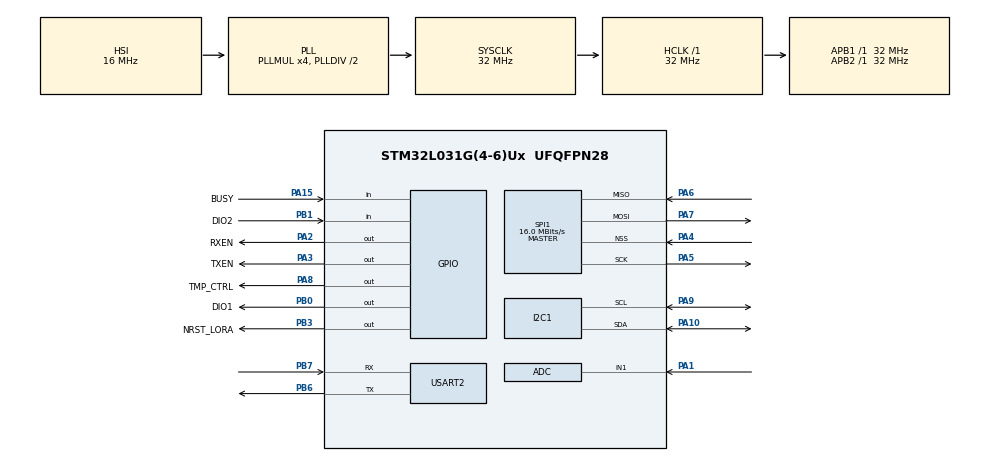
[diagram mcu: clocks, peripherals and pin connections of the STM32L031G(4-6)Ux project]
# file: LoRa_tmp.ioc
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I2C1.Timing=0x00B07CB4
Mcu.Family=STM32L0
Mcu.Name=STM32L031G(4-6)Ux
Mcu.Package=UFQFPN28
PA1.Mode=IN1
PA1.Signal=ADC_IN1
PA10.Mode=I2C
PA10.Signal=I2C1_SDA
PA13.Mode=Serial_Wire
PA13.Signal=SYS_SWDIO
PA14.Mode=Serial_Wire
PA14.Signal=SYS_SWCLK
PA15.GPIO_Label=BUSY
PA15.Signal=GPIO_Input
PA2.GPIO_Label=RXEN
PA2.Signal=GPIO_Output
PA3.GPIO_Label=TXEN
PA3.Signal=GPIO_Output
PA4.Mode=NSS_Signal_Hard_Input
PA4.Signal=SPI1_NSS
PA5.Mode=Full_Duplex_Master
PA5.Signal=SPI1_SCK
PA6.Mode=Full_Duplex_Master
PA6.Signal=SPI1_MISO
PA7.Mode=Full_Duplex_Master
PA7.Signal=SPI1_MOSI
PA8.GPIO_Label=TMP_CTRL
PA8.Signal=GPIO_Output
PA9.Mode=I2C
PA9.Signal=I2C1_SCL
PB0.GPIO_Label=DIO1
PB0.Signal=GPIO_Output
PB1.GPIO_Label=DIO2
PB1.Signal=GPIO_Input
PB3.GPIO_Label=NRST_LORA
PB3.Signal=GPIO_Output
PB6.Mode=Asynchronous
PB6.Signal=USART2_TX
PB7.Mode=Asynchronous
PB7.Signal=USART2_RX
ProjectManager.HeapSize=0x200
ProjectManager.StackSize=0x400
ProjectManager.TargetToolchain=STM32CubeIDE
RCC.AHBFreq_Value=32000000
RCC.APB1Freq_Value=32000000
RCC.APB1TimFreq_Value=32000000
RCC.APB2Freq_Value=32000000
RCC.APB2TimFreq_Value=32000000
RCC.HCLKFreq_Value=32000000
RCC.HSE_VALUE=8000000
RCC.HSI16_VALUE=16000000
RCC.HSI_VALUE=16000000
RCC.LSE_VALUE=32768
RCC.MSI_VALUE=2097000
RCC.PLLMUL=RCC_PLLMUL_4
RCC.SYSCLKFreq_VALUE=32000000
RCC.SYSCLKSource=RCC_SYSCLKSOURCE_PLLCLK
RCC.VCOOutputFreq_Value=64000000
SPI1.CalculateBaudRate=16.0 MBits/s
SPI1.Direction=SPI_DIRECTION_2LINES
SPI1.Mode=SPI_MODE_MASTER
SPI1.VirtualNSS=VM_NSSHARD
SPI1.VirtualType=VM_MASTER
USART2.VirtualMode-Asynchronous=VM_ASYNC
VP_SYS_VS_LPOM.Mode=PowerOptimisation
board=custom

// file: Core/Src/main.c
/* USER CODE BEGIN Header */
/**
  ******************************************************************************
  * @file           : main.c
  * @brief          : Main program body
  ******************************************************************************
  * @attention
  *
  * Copyright (c) 2026 STMicroelectronics.
  * All rights reserved.
  *
  * This software is licensed under terms that can be found in the LICENSE file
  * in the root directory of this software component.
  * If no LICENSE file comes with this software, it is provided AS-IS.
  *
  ******************************************************************************
  */
/* USER CODE END Header */
#include "main.h"

/* USER CODE BEGIN Includes */
#include <stdio.h>
#include <string.h>
#include "UserConfig.h"

/* USER CODE END Includes */

/* USER CODE BEGIN PD */
#define DEVICE_ID                 1U
#define SAMPLE_INTERVAL_MS        5000U
#define ADC_REF_MV                3300U
#define ADC_MAX_VALUE             4095U
#define TMP117_ADDR               (0x48U << 1)
#define TMP117_TEMP_REG           0x00U
#define MLX90393_ADDR             (0x0CU << 1)
#define MLX90393_CMD_START_ZYX    0x3EU
#define MLX90393_CMD_READ_ZYX     0x4EU

/* USER CODE END PD */

ADC_HandleTypeDef hadc;

I2C_HandleTypeDef hi2c1;

SPI_HandleTypeDef hspi1;

UART_HandleTypeDef huart2;

void SystemClock_Config(void);
static void MX_GPIO_Init(void);
static void MX_ADC_Init(void);
static void MX_I2C1_Init(void);
static void MX_SPI1_Init(void);
static void MX_USART2_UART_Init(void);
/* USER CODE BEGIN PFP */
static void Enter_Stop(uint32_t sleep_time_s);

/* USER CODE END PFP */

/* USER CODE BEGIN 0 */

/**
  * @brief  读取 PA1/ADC_IN1 电压值，并换算成毫伏。
  * @note   当前按 ADC 参考电压 3.3V、12bit 分辨率直接换算；如果前端有分压电阻，需在此处乘以分压比例。
  * @retval 电压值，单位 mV。
  */
static uint16_t Read_Voltage_mV(void)
{
  uint32_t adc_value = 0U;

  if (HAL_ADC_Start(&hadc) == HAL_OK)
  {
    if (HAL_ADC_PollForConversion(&hadc, 20) == HAL_OK)
    {
      adc_value = HAL_ADC_GetValue(&hadc);
    }
    (void)HAL_ADC_Stop(&hadc);
  }

  return (uint16_t)((adc_value * ADC_REF_MV) / ADC_MAX_VALUE);
}

/**
  * @brief  通过 I2C1 读取 TMP117 温度。
  * @note   TMP117 地址为 0x48，温度寄存器为 0x00；返回值放大 100 倍，便于无浮点格式化。
  * @retval 温度 x100，例如 2534 表示 25.34 摄氏度。
  */
static int16_t Read_TMP117_Temp_x100(void)
{
  uint8_t reg = TMP117_TEMP_REG;
  uint8_t data[2] = {0};
  int16_t raw;

  if (HAL_I2C_Master_Transmit(&hi2c1, TMP117_ADDR, &reg, 1, 100) != HAL_OK)
  {
    return 0;
  }
  if (HAL_I2C_Master_Receive(&hi2c1, TMP117_ADDR, data, 2, 100) != HAL_OK)
  {
    return 0;
  }

  raw = (int16_t)((uint16_t)data[0] << 8 | data[1]);
  return (int16_t)(((int32_t)raw * 100) / 128);
}

/**
  * @brief  通过 I2C1 读取 MLX90393 三轴磁场数据。
  * @note   先发送启动 ZYX 测量命令，再等待转换完成并读取 X/Y/Z 原始值。
  * @retval X/Y/Z 三轴原始值平均值；如需真实物理单位，需按 MLX90393 配置增益另行换算。
  */
static int16_t Read_MLX90393_Mag(void)
{
  uint8_t cmd;
  uint8_t data[7] = {0};
  int16_t mx;
  int16_t my;
  int16_t mz;

  cmd = MLX90393_CMD_START_ZYX;
  if (HAL_I2C_Master_Transmit(&hi2c1, MLX90393_ADDR, &cmd, 1, 100) != HAL_OK)
  {
    return 0;
  }

  HAL_Delay(20);
  cmd = MLX90393_CMD_READ_ZYX;
  if (HAL_I2C_Master_Transmit(&hi2c1, MLX90393_ADDR, &cmd, 1, 100) != HAL_OK)
  {
    return 0;
  }
  if (HAL_I2C_Master_Receive(&hi2c1, MLX90393_ADDR, data, sizeof(data), 100) != HAL_OK)
  {
    return 0;
  }

  mx = (int16_t)((uint16_t)data[1] << 8 | data[2]);
  my = (int16_t)((uint16_t)data[3] << 8 | data[4]);
  mz = (int16_t)((uint16_t)data[5] << 8 | data[6]);

  return (int16_t)(((int32_t)mx + (int32_t)my + (int32_t)mz) / 3);
}

/* USER CODE END 0 */

int main(void)
{

  /* MCU Configuration--------------------------------------------------------*/

  /* Reset of all peripherals, Initializes the Flash interface and the Systick. */
  HAL_Init();

  /* Configure the system clock */
  SystemClock_Config();

  /* Initialize all configured peripherals */
  MX_GPIO_Init();
  MX_ADC_Init();
  MX_I2C1_Init();
  MX_SPI1_Init();
  MX_USART2_UART_Init();
  /* USER CODE BEGIN 2 */
  gpio_init();
  DIO1_Init();
  /* 默认关闭 PA8 PMOS，切断 LoRa、TMP117、MLX90393 等外设电源，降低休眠功耗。 */
  HAL_GPIO_WritePin(TMP_CTRL_GPIO_Port, TMP_CTRL_Pin, GPIO_PIN_RESET);

  /* USER CODE END 2 */

  /* Infinite loop */
  while (1)
  {

    /* USER CODE BEGIN 3 */
    uint8_t payload[80];
    uint16_t volt_mv;
    int16_t temp_x100;
    int16_t mag;
    int len;

    /* 每次被 RTC 唤醒后先打开 PA8 PMOS，给传感器和 LLCC68 上电。 */
    HAL_GPIO_WritePin(TMP_CTRL_GPIO_Port, TMP_CTRL_Pin, GPIO_PIN_SET);
    /* 等待外设电源稳定。 */
    HAL_Delay(20);

    /* LoRa 模块可能刚重新上电，因此每轮发送前重新初始化 GPIO、DIO1 和 LLCC68。 */
    gpio_init();
    DIO1_Init();
    LoraInit();

    /* 依次采集电压、温度、磁场。 */
    volt_mv = Read_Voltage_mV();
    temp_x100 = Read_TMP117_Temp_x100();
    mag = Read_MLX90393_Mag();

    /* 按 readme 要求拼接发送字符串：ID、TEMP、Volt、MAG。 */
    len = snprintf((char *)payload, sizeof(payload), "ID:%04u,TEMP:%d.%02d,Volt:%umV,MAG:%d.",
                   (unsigned int)DEVICE_ID,
                   (int)(temp_x100 / 100),
                   (int)((temp_x100 < 0) ? -(temp_x100 % 100) : (temp_x100 % 100)),
                   (unsigned int)volt_mv,
                   (int)mag);

    if (len > 0)
    {
      /* LoraDataSend 内部会先执行 CAD/LBT 信道侦听，确认空闲后才真正发射。 */
      LoraDataSend(payload, (uint8_t)((len < (int)sizeof(payload)) ? len : (int)(sizeof(payload) - 1U)));
      /* 等待 TX_DONE 中断，期间轮询处理 LLCC68 DIO1 事件；超时后也继续进入低功耗。 */
      for (uint32_t wait_start = HAL_GetTick(); (uint32_t)(HAL_GetTick() - wait_start) < 2000U; )
      {
        DX_Lora_RadioIrqProcess();
      }
      /* 让 LLCC68 进入 sleep，减少 PA8 关闭前的额外消耗。 */
      sx126x_set_sleep(NULL, SX126X_SLEEP_CFG_COLD_START);
    }

    /* 关闭 PMOS，切断外设电源。 */
    HAL_GPIO_WritePin(TMP_CTRL_GPIO_Port, TMP_CTRL_Pin, GPIO_PIN_RESET);
    /* 配置 RTC 唤醒，然后 MCU 进入 STOP 低功耗模式（睡眠时间 5 秒）。 */
    Enter_Stop(5);
  }
  /* USER CODE END 3 */
}

void SystemClock_Config(void)
{
  RCC_OscInitTypeDef RCC_OscInitStruct = {0};
  RCC_ClkInitTypeDef RCC_ClkInitStruct = {0};
  RCC_PeriphCLKInitTypeDef PeriphClkInit = {0};

  /** Configure the main internal regulator output voltage
  */
  __HAL_PWR_VOLTAGESCALING_CONFIG(PWR_REGULATOR_VOLTAGE_SCALE1);

  /** Initializes the RCC Oscillators according to the specified parameters
  * in the RCC_OscInitTypeDef structure.
  */
  RCC_OscInitStruct.OscillatorType = RCC_OSCILLATORTYPE_HSI;
  RCC_OscInitStruct.HSIState = RCC_HSI_ON;
  RCC_OscInitStruct.HSICalibrationValue = RCC_HSICALIBRATION_DEFAULT;
  RCC_OscInitStruct.PLL.PLLState = RCC_PLL_ON;
  RCC_OscInitStruct.PLL.PLLSource = RCC_PLLSOURCE_HSI;
  RCC_OscInitStruct.PLL.PLLMUL = RCC_PLLMUL_4;
  RCC_OscInitStruct.PLL.PLLDIV = RCC_PLLDIV_2;
  if (HAL_RCC_OscConfig(&RCC_OscInitStruct) != HAL_OK)
  {
    Error_Handler();
  }

  /** Initializes the CPU, AHB and APB buses clocks
  */
  RCC_ClkInitStruct.ClockType = RCC_CLOCKTYPE_HCLK|RCC_CLOCKTYPE_SYSCLK
                              |RCC_CLOCKTYPE_PCLK1|RCC_CLOCKTYPE_PCLK2;
  RCC_ClkInitStruct.SYSCLKSource = RCC_SYSCLKSOURCE_PLLCLK;
  RCC_ClkInitStruct.AHBCLKDivider = RCC_SYSCLK_DIV1;
  RCC_ClkInitStruct.APB1CLKDivider = RCC_HCLK_DIV1;
  RCC_ClkInitStruct.APB2CLKDivider = RCC_HCLK_DIV1;

  if (HAL_RCC_ClockConfig(&RCC_ClkInitStruct, FLASH_LATENCY_1) != HAL_OK)
  {
    Error_Handler();
  }
  PeriphClkInit.PeriphClockSelection = RCC_PERIPHCLK_USART2|RCC_PERIPHCLK_I2C1;
  PeriphClkInit.Usart2ClockSelection = RCC_USART2CLKSOURCE_PCLK1;
  PeriphClkInit.I2c1ClockSelection = RCC_I2C1CLKSOURCE_PCLK1;
  if (HAL_RCCEx_PeriphCLKConfig(&PeriphClkInit) != HAL_OK)
  {
    Error_Handler();
  }
}

static void MX_ADC_Init(void)
{

  ADC_ChannelConfTypeDef sConfig = {0};

  /** Configure the global features of the ADC (Clock, Resolution, Data Alignment and number of conversion)
  */
  hadc.Instance = ADC1;
  hadc.Init.OversamplingMode = DISABLE;
  hadc.Init.ClockPrescaler = ADC_CLOCK_SYNC_PCLK_DIV2;
  hadc.Init.Resolution = ADC_RESOLUTION_12B;
  hadc.Init.SamplingTime = ADC_SAMPLETIME_1CYCLE_5;
  hadc.Init.ScanConvMode = ADC_SCAN_DIRECTION_FORWARD;
  hadc.Init.DataAlign = ADC_DATAALIGN_RIGHT;
  hadc.Init.ContinuousConvMode = DISABLE;
  hadc.Init.DiscontinuousConvMode = DISABLE;
  hadc.Init.ExternalTrigConvEdge = ADC_EXTERNALTRIGCONVEDGE_NONE;
  hadc.Init.ExternalTrigConv = ADC_SOFTWARE_START;
  hadc.Init.DMAContinuousRequests = DISABLE;
  hadc.Init.EOCSelection = ADC_EOC_SINGLE_CONV;
  hadc.Init.Overrun = ADC_OVR_DATA_PRESERVED;
  hadc.Init.LowPowerAutoWait = DISABLE;
  hadc.Init.LowPowerFrequencyMode = DISABLE;
  hadc.Init.LowPowerAutoPowerOff = DISABLE;
  if (HAL_ADC_Init(&hadc) != HAL_OK)
  {
    Error_Handler();
  }

  /** Configure for the selected ADC regular channel to be converted.
  */
  sConfig.Channel = ADC_CHANNEL_1;
  sConfig.Rank = ADC_RANK_CHANNEL_NUMBER;
  if (HAL_ADC_ConfigChannel(&hadc, &sConfig) != HAL_OK)
  {
    Error_Handler();
  }

}

static void MX_I2C1_Init(void)
{

  hi2c1.Instance = I2C1;
  hi2c1.Init.Timing = 0x00B07CB4;
  hi2c1.Init.OwnAddress1 = 0;
  hi2c1.Init.AddressingMode = I2C_ADDRESSINGMODE_7BIT;
  hi2c1.Init.DualAddressMode = I2C_DUALADDRESS_DISABLE;
  hi2c1.Init.OwnAddress2 = 0;
  hi2c1.Init.OwnAddress2Masks = I2C_OA2_NOMASK;
  hi2c1.Init.GeneralCallMode = I2C_GENERALCALL_DISABLE;
  hi2c1.Init.NoStretchMode = I2C_NOSTRETCH_DISABLE;
  if (HAL_I2C_Init(&hi2c1) != HAL_OK)
  {
    Error_Handler();
  }

  /** Configure Analogue filter
  */
  if (HAL_I2CEx_ConfigAnalogFilter(&hi2c1, I2C_ANALOGFILTER_ENABLE) != HAL_OK)
  {
    Error_Handler();
  }

  /** Configure Digital filter
  */
  if (HAL_I2CEx_ConfigDigitalFilter(&hi2c1, 0) != HAL_OK)
  {
    Error_Handler();
  }

}

static void MX_SPI1_Init(void)
{

  /* SPI1 parameter configuration*/
  hspi1.Instance = SPI1;
  hspi1.Init.Mode = SPI_MODE_MASTER;
  hspi1.Init.Direction = SPI_DIRECTION_2LINES;
  hspi1.Init.DataSize = SPI_DATASIZE_8BIT;
  hspi1.Init.CLKPolarity = SPI_POLARITY_LOW;
  hspi1.Init.CLKPhase = SPI_PHASE_1EDGE;
  hspi1.Init.NSS = SPI_NSS_HARD_INPUT;
  hspi1.Init.BaudRatePrescaler = SPI_BAUDRATEPRESCALER_2;
  hspi1.Init.FirstBit = SPI_FIRSTBIT_MSB;
  hspi1.Init.TIMode = SPI_TIMODE_DISABLE;
  hspi1.Init.CRCCalculation = SPI_CRCCALCULATION_DISABLE;
  hspi1.Init.CRCPolynomial = 7;
  if (HAL_SPI_Init(&hspi1) != HAL_OK)
  {
    Error_Handler();
  }

}

static void MX_USART2_UART_Init(void)
{

  huart2.Instance = USART2;
  huart2.Init.BaudRate = 115200;
  huart2.Init.WordLength = UART_WORDLENGTH_8B;
  huart2.Init.StopBits = UART_STOPBITS_1;
  huart2.Init.Parity = UART_PARITY_NONE;
  huart2.Init.Mode = UART_MODE_TX_RX;
  huart2.Init.HwFlowCtl = UART_HWCONTROL_NONE;
  huart2.Init.OverSampling = UART_OVERSAMPLING_16;
  huart2.Init.OneBitSampling = UART_ONE_BIT_SAMPLE_DISABLE;
  huart2.AdvancedInit.AdvFeatureInit = UART_ADVFEATURE_NO_INIT;
  if (HAL_UART_Init(&huart2) != HAL_OK)
  {
    Error_Handler();
  }

}

static void MX_GPIO_Init(void)
{
  GPIO_InitTypeDef GPIO_InitStruct = {0};

  /* GPIO Ports Clock Enable */
  __HAL_RCC_GPIOA_CLK_ENABLE();
  __HAL_RCC_GPIOB_CLK_ENABLE();

  /*Configure GPIO pin Output Level */
  HAL_GPIO_WritePin(GPIOA, RXEN_Pin|TXEN_Pin|TMP_CTRL_Pin, GPIO_PIN_RESET);

  /*Configure GPIO pin Output Level */
  HAL_GPIO_WritePin(GPIOB, DIO1_Pin|NRST_LORA_Pin, GPIO_PIN_RESET);

  /*Configure GPIO pins : RXEN_Pin TXEN_Pin TMP_CTRL_Pin */
  GPIO_InitStruct.Pin = RXEN_Pin|TXEN_Pin|TMP_CTRL_Pin;
  GPIO_InitStruct.Mode = GPIO_MODE_OUTPUT_PP;
  GPIO_InitStruct.Pull = GPIO_NOPULL;
  GPIO_InitStruct.Speed = GPIO_SPEED_FREQ_LOW;
  HAL_GPIO_Init(GPIOA, &GPIO_InitStruct);

  /*Configure GPIO pins : DIO1_Pin NRST_LORA_Pin */
  GPIO_InitStruct.Pin = DIO1_Pin|NRST_LORA_Pin;
  GPIO_InitStruct.Mode = GPIO_MODE_OUTPUT_PP;
  GPIO_InitStruct.Pull = GPIO_NOPULL;
  GPIO_InitStruct.Speed = GPIO_SPEED_FREQ_LOW;
  HAL_GPIO_Init(GPIOB, &GPIO_InitStruct);

  /*Configure GPIO pin : DIO2_Pin */
  GPIO_InitStruct.Pin = DIO2_Pin;
  GPIO_InitStruct.Mode = GPIO_MODE_INPUT;
  GPIO_InitStruct.Pull = GPIO_NOPULL;
  HAL_GPIO_Init(DIO2_GPIO_Port, &GPIO_InitStruct);

  /*Configure GPIO pin : BUSY_Pin */
  GPIO_InitStruct.Pin = BUSY_Pin;
  GPIO_InitStruct.Mode = GPIO_MODE_INPUT;
  GPIO_InitStruct.Pull = GPIO_NOPULL;
  HAL_GPIO_Init(BUSY_GPIO_Port, &GPIO_InitStruct);

}

/* USER CODE BEGIN 4 */

static void Enter_Stop(uint32_t sleep_time_s)
{
  /* 重新配置 RTC WakeUp 前，先关闭上一次唤醒定时器。 */
  (void)HAL_RTCEx_DeactivateWakeUpTimer(&hrtc);
  /* 清除唤醒标志，避免旧标志导致无法正常进入 STOP。 */
  __HAL_PWR_CLEAR_FLAG(PWR_FLAG_WU);

  /* RTC CK_SPRE 为 1Hz，计数值为 sleep_time_s - 1 时约 sleep_time_s 秒唤醒一次。 */
  if (HAL_RTCEx_SetWakeUpTimer_IT(&hrtc, sleep_time_s - 1U, RTC_WAKEUPCLOCK_CK_SPRE_16BITS) != HAL_OK)
  {
    Error_Handler();
  }

  /* 进入 STOP 前暂停 SysTick，防止 SysTick 周期中断把 MCU 立即唤醒。 */
  HAL_SuspendTick();
  HAL_PWR_EnterSTOPMode(PWR_LOWPOWERREGULATOR_ON, PWR_STOPENTRY_WFI);
  /* RTC 唤醒后恢复 SysTick，并重新配置系统时钟。 */
  HAL_ResumeTick();

  SystemClock_Config();
  /* 唤醒后关闭本轮 wakeup timer，下一次休眠前会重新配置。 */
  (void)HAL_RTCEx_DeactivateWakeUpTimer(&hrtc);
}

/**
  * @brief RTC WakeUp 中断回调。
  * @note  当前只用于唤醒 STOP 模式，无需额外处理。
  */
void HAL_RTCEx_WakeUpTimerEventCallback(RTC_HandleTypeDef *hrtc_arg)
{
  (void)hrtc_arg;
}

/* USER CODE END 4 */

void Error_Handler(void)
{
  __disable_irq();
  while (1)
  {
  }
}
